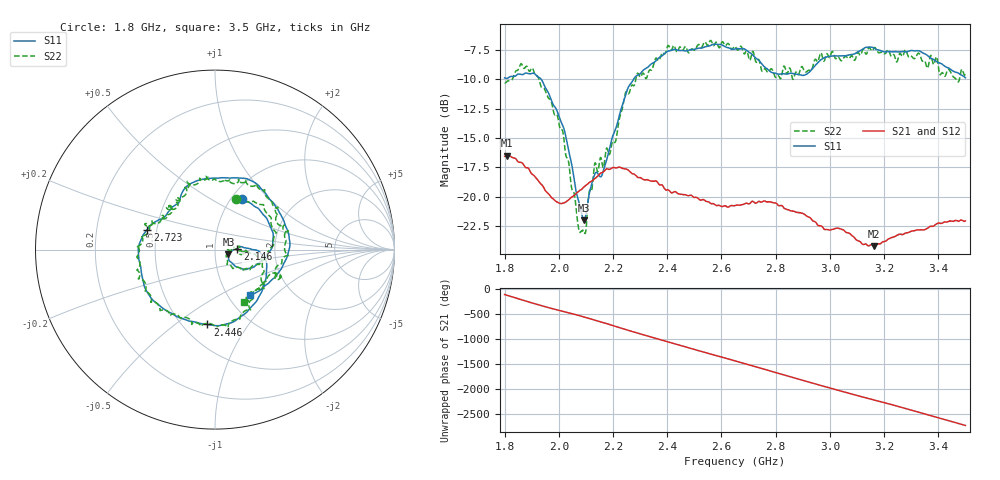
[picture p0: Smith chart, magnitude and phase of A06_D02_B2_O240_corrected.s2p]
! Created with skrf 1.9.0 (http://scikit-rf.org).
# Hz S RI R 50.0
!freq ReS11 ImS11 ReS21 ImS21 ReS12 ImS12 ReS22 ImS22
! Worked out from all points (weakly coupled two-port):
!   1601 points, 1.8 GHz to 3.5 GHz, reference 50 ohm
!   highest |S21| = -16.51 dB at 1.808 GHz (marker M1); lowest = -24.2 dB at 3.163 GHz (marker M2)
!   lowest |S11| = -22.0 dB at 2.093 GHz (marker M3), VSWR 1.17, Z = 58 - j2.95 ohm
!   |S11| at or under -10 dB: 1.935 GHz to 2.276 GHz (340.5 MHz wide, 16.2 % of centre)
!   |S22| runs from -23.1 to -6.7 dB; largest |S21 - S12| = 0.0024
!   S11 on the Smith chart (normalised r, x): 1.8 GHz: 1.12, +0.71; 2.146 GHz: 1.28, +0.00; 2.446 GHz: 0.65, -0.66; 2.723 GHz: 0.44, +0.12; 3.5 GHz: 1.26, -0.72
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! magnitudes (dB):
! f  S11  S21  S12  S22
! 1.8 GHz  -9.9  -16.6  -16.6  -10.3
! 1.808 GHz  -9.9  -16.5  -16.5  -10.2
! 1.901 GHz  -9.5  -18.1  -18.0  -9.0
! 1.967 GHz  -11.4  -19.9  -19.9  -11.7
! 2.02 GHz  -14.3  -20.5  -20.5  -15.4
! 2.084 GHz  -21.4  -19.4  -19.3  -22.9
! 2.093 GHz  -22.0  -19.2  -19.2  -23.0
! 2.13 GHz  -18.2  -18.5  -18.5  -17.5
! 2.146 GHz  -18.1  -18.2  -18.2  -17.7
! 2.208 GHz  -14.3  -17.6  -17.5  -15.4
! 2.258 GHz  -10.6  -17.8  -17.8  -11.2
! 2.367 GHz  -8.2  -18.9  -18.8  -8.4
! 2.446 GHz  -7.5  -19.8  -19.8  -7.2
! 2.65 GHz  -7.4  -20.7  -20.7  -7.2
! 2.723 GHz  -8.1  -20.5  -20.5  -8.2
! 2.81 GHz  -9.6  -20.8  -20.7  -9.7
! 2.934 GHz  -9.2  -22.0  -22.0  -9.2
! 3.163 GHz  -7.3  -24.2  -24.2  -7.3
! 3.217 GHz  -7.6  -23.6  -23.6  -7.5
! 3.33 GHz  -7.6  -22.8  -22.8  -7.8
! 3.468 GHz  -9.4  -22.0  -22.0  -10.1
! 3.5 GHz  -9.9  -22.1  -22.0  -9.5
